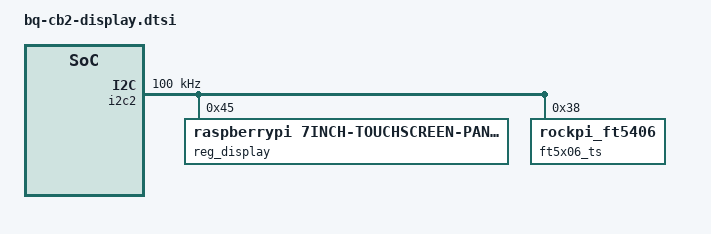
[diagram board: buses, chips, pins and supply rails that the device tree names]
// SPDX-License-Identifier: (GPL-2.0+ OR MIT)
/*
 * Copyright (c) 2020 Rockchip Electronics Co., Ltd.
 *
 */

&dsi1 {
	status = "disabled";
	#address-cells = <1>;
	#size-cells = <0>;

	dsi1_panel: panel@0 {
		status = "disabled";
		compatible = "btt-pitft";
		reg = <0x0>;
		vddc-supply = <&reg_display>;
		#address-cells = <1>;
		#size-cells = <0>;		

		ports {
			#address-cells = <1>;
			#size-cells = <0>;

			port@0 {
				reg = <0>;
				panel_in_dsi1: endpoint {
					remote-endpoint = <&dsi1_out_panel>;
				};
			};
		};
	};

	ports {
		#address-cells = <1>;
		#size-cells = <0>;

		port@1 {
			reg = <1>;
			dsi1_out_panel: endpoint {
				remote-endpoint = <&panel_in_dsi1>;
			};
		};
	};
};

&i2c2 {
	status = "okay";
	pinctrl-names = "default";
	clock-frequency = <100000>;
	pinctrl-0 = <&i2c2m1_xfer>;
	avdd-1v8-supply = <&vcca1v8_image>;
	avdd-0v9-supply = <&vdda0v9_image>;
	power-domains = <&power RK3568_PD_VI>;
	#address-cells = <1>;
	#size-cells = <0>;
	reg_display:backlight@45{ /*背光地址0x45*/
		compatible = "raspberrypi,7inch-touchscreen-panel-regulator";
		reg = <0x45>;
		status = "okay";
    };
	ft5x06_ts@38 { /*触屏地址0x38*/
		compatible = "rockpi_ft5406", "ft5x06";
		reg = <0x38>;
		//interrupt-parent = <&gpio0>;
		//interrupts = <13 IRQ_TYPE_LEVEL_LOW>;
		//power-domains = <&power RK3568_PD_VI>;
		//reset-gpios = <&gpio0 RK_PB6 GPIO_ACTIVE_LOW>;
		touchscreen-size-x = < 800 >;
		touchscreen-size-y = < 480 >;
		status = "okay";
	};	
};

